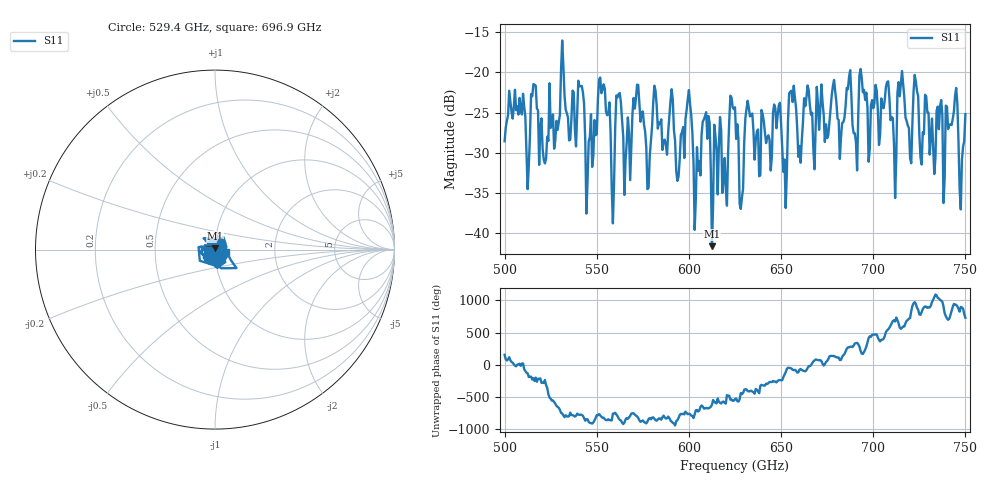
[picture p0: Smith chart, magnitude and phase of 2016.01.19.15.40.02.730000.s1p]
!Created with skrf (http://scikit-rf.org).
# GHz S RI R 50.0
!freq ReS11 ImS11
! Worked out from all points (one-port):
!   401 points, 500 GHz to 750 GHz, reference 50 ohm
!   lowest |S11| = -41.6 dB at 612.5 GHz (marker M1), VSWR 1.02, Z = 49.9 + j0.825 ohm
!   |S11| at or under -10 dB: start of sweep to end of sweep
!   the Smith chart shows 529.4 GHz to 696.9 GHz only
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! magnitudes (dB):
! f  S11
! 500 GHz  -28.6
! 512.5 GHz  -34.5
! 515.6 GHz  -21.5
! 521.9 GHz  -31.3
! 531.2 GHz  -16.0
! 541.2 GHz  -21.7
! 545 GHz  -33.5
! 552.5 GHz  -22.6
! 558.8 GHz  -38.8
! 562.5 GHz  -22.6
! 578.1 GHz  -34.4
! 581.2 GHz  -21.7
! 590.6 GHz  -22.1
! 593.8 GHz  -33.5
! 600 GHz  -22.2
! 603.8 GHz  -35.7
! 608.1 GHz  -25.9
! 612.5 GHz  -41.6
! 625 GHz  -24.3
! 628.1 GHz  -37.0
! 632.5 GHz  -24.4
! 648.1 GHz  -25.4
! 651.9 GHz  -30.9
! 656.2 GHz  -23.7
! 660 GHz  -29.2
! 687.5 GHz  -19.7
! 718.8 GHz  -26.6
! 750 GHz  -25.2
